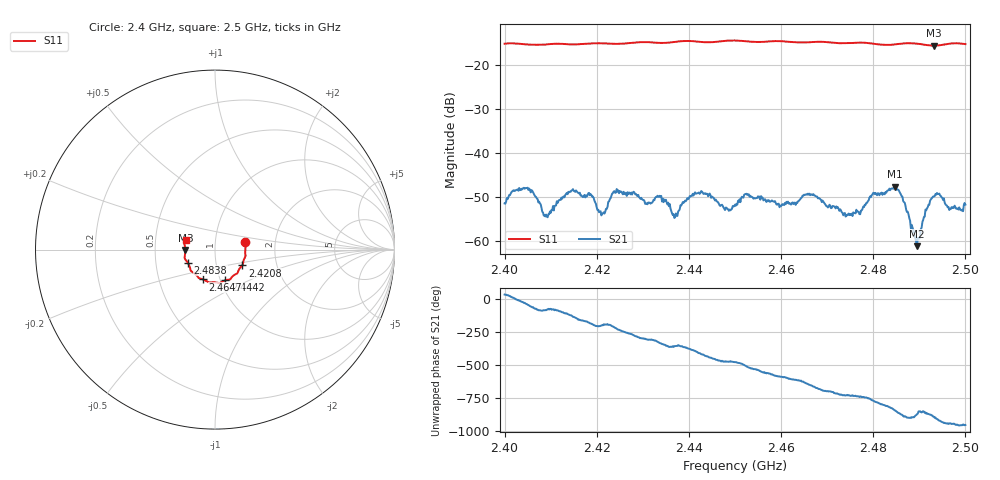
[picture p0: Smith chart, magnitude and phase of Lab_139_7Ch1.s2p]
# Hz S RI R 50
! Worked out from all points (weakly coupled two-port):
!   601 points, 2.4 GHz to 2.5 GHz, reference 50 ohm
!   highest |S21| = -47.71 dB at 2.4847 GHz (marker M1); lowest = -61.2 dB at 2.4895 GHz (marker M2)
!   lowest |S11| = -15.6 dB at 2.4932 GHz (marker M3), VSWR 1.40, Z = 35.8 - j0.122 ohm
!   |S11| at or under -10 dB: start of sweep to end of sweep
!   S12 and S22 are empty: the file has one direction only
!   S11 on the Smith chart (normalised r, x): 2.4 GHz: 1.40, +0.12; 2.4208 GHz: 1.33, -0.24; 2.4442 GHz: 1.05, -0.37; 2.4647 GHz: 0.83, -0.28; 2.4838 GHz: 0.73, -0.11; 2.5 GHz: 0.71, +0.08
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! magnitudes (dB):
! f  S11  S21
! 2.4 GHz  -15.2  -51.5
! 2.405 GHz  -15.4  -47.9
! 2.409 GHz  -15.4  -54.0
! 2.4143 GHz  -15.4  -48.9
! 2.4167 GHz  -15.3  -49.7
! 2.4208 GHz  -15.1  -53.3
! 2.4242 GHz  -15.2  -49.0
! 2.4333 GHz  -15.0  -50.0
! 2.437 GHz  -14.8  -54.7
! 2.4408 GHz  -14.6  -49.3
! 2.4442 GHz  -14.9  -49.9
! 2.45 GHz  -14.5  -51.8
! 2.4525 GHz  -14.7  -49.3
! 2.4647 GHz  -14.9  -49.8
! 2.4667 GHz  -14.8  -49.5
! 2.4745 GHz  -15.1  -54.1
! 2.4833 GHz  -15.5  -48.5
! 2.4838 GHz  -15.5  -48.2
! 2.4847 GHz  -15.4  -47.7
! 2.4895 GHz  -15.2  -61.2
! 2.4932 GHz  -15.6  -49.9
! 2.5 GHz  -15.3  -51.8
